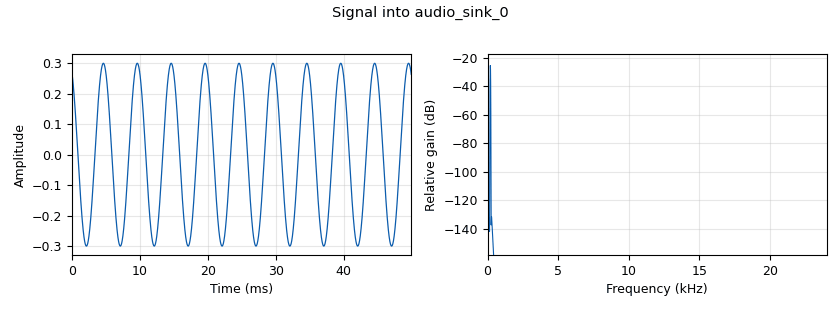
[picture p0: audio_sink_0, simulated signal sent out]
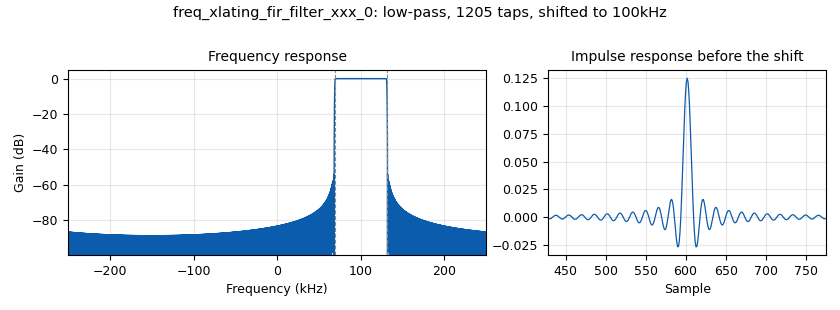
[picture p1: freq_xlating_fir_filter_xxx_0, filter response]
options:
  parameters:
    generate_options: qt_gui
    id: pluto
    output_language: python
    thread_safe_setters: '1'
    title: Pluto Antenna Range
  states: {}

blocks:
- name: audio_freq
  id: variable
  parameters:
    value: '1000'
  states: {}
- name: audio_samplerate
  id: variable
  parameters:
    value: '48000'
  states: {}
- name: db_ref
  id: variable_qtgui_range
  parameters:
    gui_hint: 0,4,1,1
    label: Reference antenna (dB)
    start: '-100'
    step: '.1'
    stop: '+100'
    value: '0'
    widget: counter
  states: {}
- name: decimation
  id: variable
  parameters:
    value: '4'
  states: {}
- name: fft_size
  id: variable
  parameters:
    value: '512'
  states: {}
- name: rf_lo_freq
  id: qtgui_msgdigitalnumbercontrol
  parameters:
    gui_hint: 1,1,1,2
    lbl: LO frequency (Hz)
    maxFreqHz: '6000000000'
    minFreqHz: '70000000'
    outputmsgname: rf_lo_freq
    value: '2073620000'
  states: {}
- name: rx_gain
  id: variable_qtgui_range
  parameters:
    gui_hint: 1,4,1,1
    label: RX Gain
    start: '0'
    step: '1'
    stop: '71'
    value: '71'
    widget: counter
  states: {}
- name: sample_rate
  id: variable
  parameters:
    value: '500000'
  states: {}
- name: transition_bw
  id: variable
  parameters:
    value: '1000'
  states: {}
- name: audio_sink_0
  id: audio_sink
  parameters:
    samp_rate: audio_samplerate
  states: {}
- name: audio_tone_gen_0
  id: epy_block
  parameters:
    _source_code: |
      import numpy as np
      from gnuradio import gr
      import pmt


      class blk(gr.sync_block):
          """
          Free-running phase-continuous audio tone generator.
          Frequency is controlled asynchronously via message input.
          """
          
          def __init__(self, audio_samplerate=48000, min_freq=200, max_freq=5000, 
                       min_db=0, max_db=40, interpolation_samples=4800):
              """
              Args:
                  audio_samplerate: Output sample rate in Hz (default: 48000)
                  min_freq: Frequency in Hz for min_db or lower (default: 200)
                  max_freq: Frequency in Hz for max_db or higher (default: 5000)
                  min_db: Minimum dB value for mapping (default: 0)
                  max_db: Maximum dB value for mapping (default: 40)
                  interpolation_samples: Number of samples over which to smooth frequency changes (default: 4800 = 100ms at 48kHz)
              """
              gr.sync_block.__init__(
                  self,
                  name='Audio Tone Generator',
                  in_sig=None,  # No input stream, only message port
                  out_sig=[np.float32]
              )
              
              self.audio_samplerate = float(audio_samplerate)
              self.min_freq = float(min_freq)
              self.max_freq = float(max_freq)
              self.min_db = float(min_db)
              self.max_db = float(max_db)
              self.interpolation_samples = int(interpolation_samples)
              
              # Phase accumulator for continuous phase
              self.phase = 0.0
              
              # Current and target frequencies
              self.current_freq = min_freq
              self.target_freq = min_freq
              
              # Interpolation state
              self.interp_counter = 0
              self.freq_step = 0.0
              
              # Register message port for receiving dB values
              self.message_port_register_in(pmt.intern("db_in"))
              self.set_msg_handler(pmt.intern("db_in"), self.handle_db_msg)
              
          def handle_db_msg(self, msg):
              """Handle incoming dB value messages."""
              try:
                  # Extract the dB value from the message
                  db_value = pmt.to_double(msg)
                  
                  # Convert dB to frequency
                  new_target_freq = self.db_to_freq(db_value)
                  
                  # Debug output
                  print(f"Received dB: {db_value:.2f}, Target freq: {new_target_freq:.1f} Hz")
                  
                  # If target frequency changed significantly, set up interpolation
                  if abs(new_target_freq - self.target_freq) > 0.1:
                      self.target_freq = new_target_freq
                      self.interp_counter = self.interpolation_samples
                      if self.interpolation_samples > 0:
                          self.freq_step = (self.target_freq - self.current_freq) / self.interpolation_samples
                      else:
                          self.current_freq = self.target_freq
              except Exception as e:
                  print(f"Error handling dB message: {e}")
              
          def db_to_freq(self, db_value):
              """Convert dB value to frequency using logarithmic mapping, with clamping."""
              db_clamped = np.clip(db_value, self.min_db, self.max_db)
              
              # Logarithmic mapping: frequency increases exponentially with dB
              # This makes lower dB values more distinguishable
              # Formula: freq = min_freq * (max_freq/min_freq)^((db-min_db)/(max_db-min_db))
              
              if self.max_db == self.min_db:
                  return self.min_freq
              
              # Normalized position in dB range [0, 1]
              normalized_db = (db_clamped - self.min_db) / (self.max_db - self.min_db)
              
              # Exponential mapping (logarithmic in frequency space)
              freq_ratio = self.max_freq / self.min_freq
              freq = self.min_freq * (freq_ratio ** normalized_db)
              
              return freq
          
          def work(self, input_items, output_items):
              """
              Generate audio samples continuously with phase-continuous frequency changes.
              """
              out_audio = output_items[0]
              
              # Generate audio samples
              for i in range(len(out_audio)):
                  # Interpolate frequency if needed
                  if self.interp_counter > 0:
                      self.current_freq += self.freq_step
                      self.interp_counter -= 1
                  else:
                      self.current_freq = self.target_freq
                  
                  # Generate sine wave sample
                  out_audio[i] = 0.3 * np.sin(2.0 * np.pi * self.phase)
                  
                  # Update phase accumulator
                  self.phase += self.current_freq / self.audio_samplerate
                  
                  # Keep phase in [0, 1) to prevent overflow
                  if self.phase >= 1.0:
                      self.phase -= 1.0
              
              return len(out_audio)
    audio_samplerate: audio_samplerate
    interpolation_samples: '2'
    max_db: '40'
    max_freq: '5000'
    min_db: '-10'
    min_freq: '200'
  states: {}
- name: blocks_add_const_vxx_0
  id: blocks_add_const_vxx
  parameters:
    const: '-db_ref'
    type: float
  states: {}
- name: blocks_complex_to_mag_squared_0
  id: blocks_complex_to_mag_squared
  parameters:
    vlen: fft_size
  states: {}
- name: blocks_moving_average_xx_0
  id: blocks_moving_average_xx
  parameters:
    length: '100'
    max_iter: '1'
    scale: 1/50
    type: float
    vlen: fft_size
  states: {}
- name: blocks_nlog10_ff_0_0
  id: blocks_nlog10_ff
  parameters:
    k: '0'
    n: '10'
  states: {}
- name: blocks_nlog10_ff_0_0_0
  id: blocks_nlog10_ff
  parameters:
    k: '0'
    n: '10'
    vlen: fft_size
  states: {}
- name: blocks_null_sink_0_0
  id: blocks_null_sink
  parameters:
    type: float
    vlen: fft_size
  states: {}
- name: blocks_stream_to_vector_0
  id: blocks_stream_to_vector
  parameters:
    num_items: fft_size
    type: complex
  states: {}
- name: epy_block_0
  id: epy_block
  parameters:
    _source_code: |
      """
      Embedded Python Blocks:

      Each time this file is saved, GRC will instantiate the first class it finds
      to get ports and parameters of your block. The arguments to __init__  will
      be the parameters. All of them are required to have default values!
      """

      import numpy as np
      from gnuradio import gr




      class blk(gr.sync_block):  # other base classes are basic_block, decim_block, interp_block
          """Embedded Python Block example - a simple multiply const"""
          
          def __init__(self, vectorSize=512):  # only default arguments here
              """arguments to this function show up as parameters in GRC"""
              gr.sync_block.__init__(
                  self,
                  name='vector sum',   # will show up in GRC
                  in_sig=[(np.float32,vectorSize)],
                  out_sig=[(np.float32)]

              )
              self.vectorSize = vectorSize
              self.maxbin = 0;
              # if an attribute with the same name as a parameter is found,
              # a callback is registered (properties work, too).
              #self.example_param = example_param

          def work(self, input_items, output_items):
              for vectorIndex in range(len(input_items[0])):
                  #sum = np.sum(input_items[0][vectorIndex])
                  
                  maxValue = np.max(input_items[0][vectorIndex])
                  maxbin = np.argmax(input_items[0][vectorIndex])

                  #
                  start = maxbin - 4
                  stop = maxbin + 5
                  if start < 0:
                      start = 0
                  if (stop > len(input_items[0][vectorIndex])):
                      stop = input_items[0][vectorIndex] -1
                  sum = 0
                  for i in range(start,stop):
                      sum += input_items[0][vectorIndex][i]

                  output_items[0][0] = sum
                #  sum = (input_items[0][maxbin-2]) + (input_items[0][maxbin-1]) + (input_items[0][maxbin]) + (input_items[0][maxbin+1]) + (input_items[0][maxbin+2])
                  #print(f'{maxbin}  {sum}')
                #  for sampleIndex in range(len(input_items[0][vectorIndex])):
                 #     output_items[0][vectorIndex][sampleIndex] = sum
              """example: multiply with constant"""
              #output_items[0][:] = np.sum(input_items)
              #output_items[0][:] = input_items[0] 
              

              return 1 #
    vectorSize: fft_size
  states: {}
- name: fft_vxx_0
  id: fft_vxx
  parameters:
    fft_size: fft_size
    forward: 'True'
    shift: 'True'
    type: complex
    window: window.flattop(fft_size)
  states: {}
- name: freq_xlating_fir_filter_xxx_0
  id: freq_xlating_fir_filter_xxx
  parameters:
    center_freq: '100000'
    decim: decimation
    samp_rate: sample_rate
    taps: ' firdes.low_pass(1,sample_rate,sample_rate/(4*decimation), transition_bw)'
    type: ccc
  states: {}
- name: iio_pluto_source_0
  id: iio_pluto_source
  parameters:
    bandwidth: '200000'
    bbdc: 'True'
    buffer_size: '32768'
    filter_source: '''Auto'''
    frequency: rf_lo_freq
    gain1: '''manual'''
    manual_gain1: rx_gain
    quadrature: 'False'
    rfdc: 'True'
    samplerate: sample_rate
    type: fc32
    uri: ip:192.168.2.1
  states: {}
- name: qtgui_number_sink_0
  id: qtgui_number_sink
  parameters:
    graph_type: qtgui.NUM_GRAPH_VERT
    gui_hint: 0,0,3,1
    label1: dB
    max: '50'
    min: '-50'
    name: '"dBref"'
    type: float
    unit1: dB
  states: {}
- name: qtgui_vector_sink_f_0_0_0
  id: qtgui_vector_sink_f
  parameters:
    grid: 'True'
    gui_hint: 0,1,1,2
    label1: '""'
    name: '"Spectrum"'
    ref_level: db_ref
    vlen: fft_size
    x_axis_label: '"Freq"'
    x_start: '0'
    x_step: '.1'
    y_axis_label: '"dB"'
    ymax: '60'
    ymin: '-80'
  states: {}
- name: stream_to_msg_0
  id: epy_block
  parameters:
    _source_code: |
      """
      Stream to Message converter
      Converts float stream samples to PMT messages
      """

      import numpy as np
      from gnuradio import gr
      import pmt


      class blk(gr.sync_block):
          """
          Converts stream samples to messages.
          Decimates the stream and sends every Nth sample as a message.
          """
          
          def __init__(self, decimation=100):
              """
              Args:
                  decimation: Send a message every N samples (default: 100)
              """
              gr.sync_block.__init__(
                  self,
                  name='Stream to Message',
                  in_sig=[np.float32],
                  out_sig=None
              )
              
              self.decimation = int(decimation)
              self.counter = 0
              
              # Register message output port
              self.message_port_register_out(pmt.intern("msg_out"))
              
          def work(self, input_items, output_items):
              """
              Convert stream samples to messages.
              """
              in_data = input_items[0]
              
              for value in in_data:
                  self.counter += 1
                  if self.counter >= self.decimation:
                      self.counter = 0
                      # Send the value as a PMT message
                      msg = pmt.from_double(float(value))
                      self.message_port_pub(pmt.intern("msg_out"), msg)
                      print(f"Stream->Msg: Sent dB value: {value:.2f}")
              
              return len(in_data)
    decimation: '10'
  states: {}

connections:
- [audio_tone_gen_0, '0', audio_sink_0, '0']
- [blocks_add_const_vxx_0, '0', qtgui_number_sink_0, '0']
- [blocks_add_const_vxx_0, '0', stream_to_msg_0, '0']
- [blocks_complex_to_mag_squared_0, '0', blocks_moving_average_xx_0, '0']
- [blocks_moving_average_xx_0, '0', blocks_nlog10_ff_0_0_0, '0']
- [blocks_moving_average_xx_0, '0', epy_block_0, '0']
- [blocks_nlog10_ff_0_0, '0', blocks_add_const_vxx_0, '0']
- [blocks_nlog10_ff_0_0_0, '0', blocks_null_sink_0_0, '0']
- [blocks_nlog10_ff_0_0_0, '0', qtgui_vector_sink_f_0_0_0, '0']
- [blocks_stream_to_vector_0, '0', fft_vxx_0, '0']
- [epy_block_0, '0', blocks_nlog10_ff_0_0, '0']
- [fft_vxx_0, '0', blocks_complex_to_mag_squared_0, '0']
- [freq_xlating_fir_filter_xxx_0, '0', blocks_stream_to_vector_0, '0']
- [iio_pluto_source_0, '0', freq_xlating_fir_filter_xxx_0, '0']

metadata:
  file_format: 1
  grc_version: 3.10.9.2
